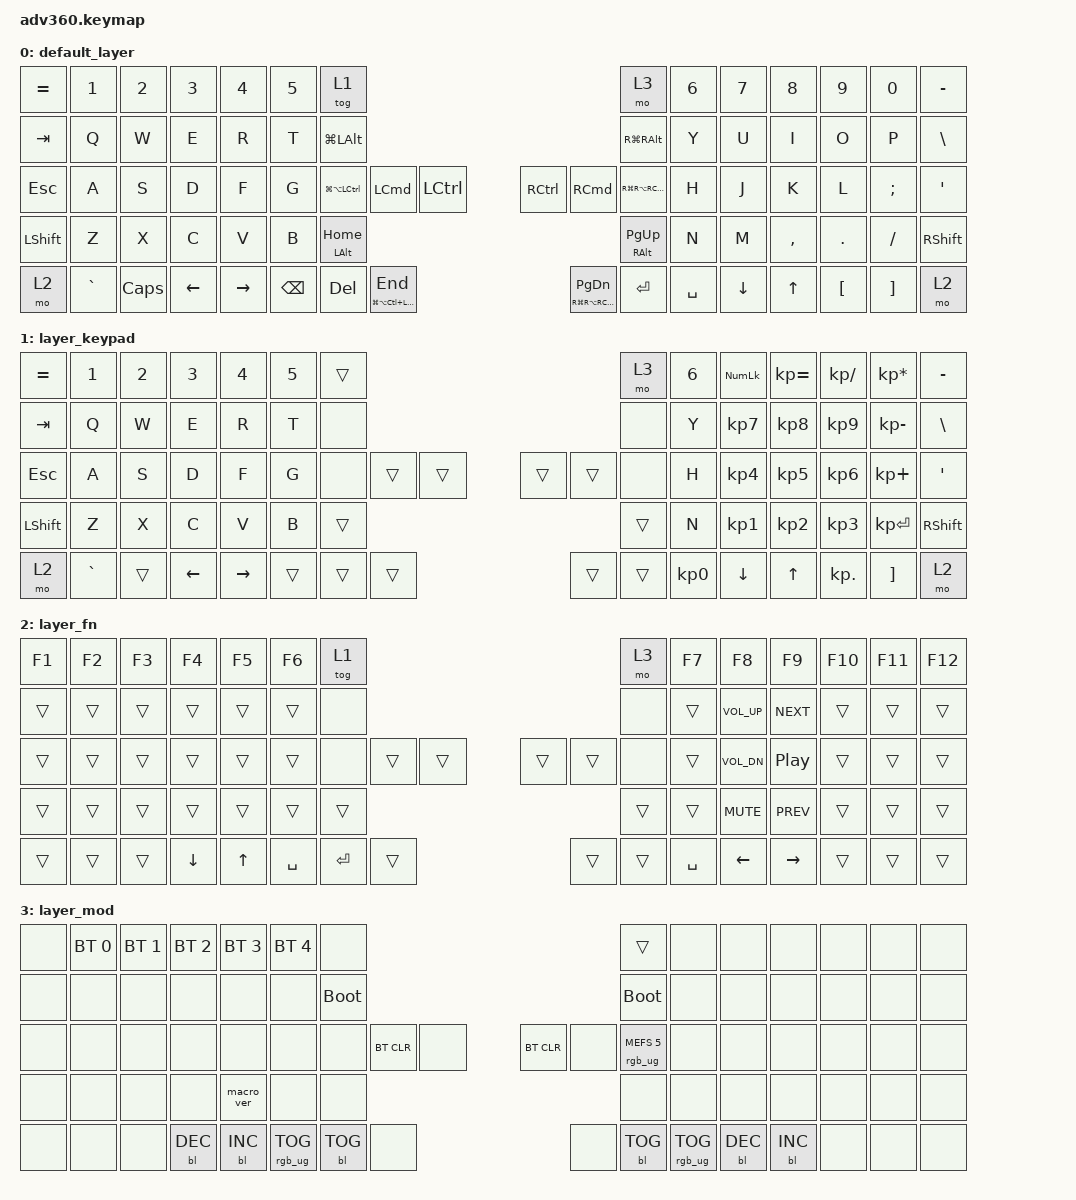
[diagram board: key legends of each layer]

/*
 * Copyright (c) 2020 The ZMK Contributors
 *
 * SPDX-License-Identifier: MIT
 */


/* THIS FILE WAS GENERATED!
 *
 * This file was generated automatically. You may or may not want to
 * edit it directly.
 */

#include <behaviors.dtsi>
#include <dt-bindings/zmk/keys.h>
#include <dt-bindings/zmk/bt.h>
#include <dt-bindings/zmk/rgb.h>
#include <dt-bindings/zmk/backlight.h>

/ {
  behaviors {
    #include "macros.dtsi"
    #include "version.dtsi"

    hm: homerow_mods {
        compatible = "zmk,behavior-hold-tap";
        label = "HOMEROW_MODS";
        #binding-cells = <2>;
        tapping-term-ms = <200>;
        quick_tap_ms = <175>;
        flavor = "tap-preferred";
        bindings = <&kp>, <&kp>;
    };
  };

    keymap {
        compatible = "zmk,keymap";


        default_layer {
            bindings = <
 &kp EQUAL     &kp N1    &kp N2    &kp N3     &kp N4  &kp N5                       &tog 1                                                                                                                                      &mo 3  &kp N6    &kp N7     &kp N8    &kp N9    &kp N0  &kp MINUS
   &kp TAB      &kp Q     &kp W     &kp E      &kp R   &kp T                 &kp LG(LALT)                                                                                                                               &kp RG(RALT)   &kp Y     &kp U      &kp I     &kp O     &kp P   &kp BSLH
   &kp ESC      &kp A     &kp S     &kp D      &kp F   &kp G            &kp LG(LA(LCTRL))  &kp LEFT_COMMAND                       &kp LCTRL                                  &kp RIGHT_CONTROL  &kp RIGHT_COMMAND  &kp RG(RA(RCTRL))   &kp H     &kp J      &kp K     &kp L  &kp SEMI    &kp SQT
 &kp LSHFT      &kp Z     &kp X     &kp C      &kp V   &kp B                                                              &mt LEFT_ALT HOME                                &mt RIGHT_ALT PG_UP                                         &kp N     &kp M  &kp COMMA   &kp DOT  &kp FSLH  &kp RSHFT
     &mo 2  &kp GRAVE  &kp CAPS  &kp LEFT  &kp RIGHT                             &kp BSPC           &kp DEL  &mt LG(LA(LC(LEFT_SHIFT))) END                  &mt RG(RA(RC(RIGHT_SHIFT))) PG_DN          &kp ENTER          &kp SPACE          &kp DOWN     &kp UP  &kp LBKT  &kp RBKT      &mo 2
            >;
        };

        layer_keypad {
            bindings = <
 &kp EQUAL     &kp N1  &kp N2    &kp N3     &kp N4  &kp N5            &trans                                                      &mo 3  &kp N6  &kp KP_NUM  &kp KP_EQUAL  &kp KP_DIVIDE  &kp KP_MULTIPLY  &kp MINUS
   &kp TAB      &kp Q   &kp W     &kp E      &kp R   &kp T             &none                                                      &none   &kp Y   &kp KP_N7     &kp KP_N8      &kp KP_N9     &kp KP_MINUS   &kp BSLH
   &kp ESC      &kp A   &kp S     &kp D      &kp F   &kp G             &none  &trans  &trans                  &trans  &trans      &none   &kp H   &kp KP_N4     &kp KP_N5      &kp KP_N6      &kp KP_PLUS    &kp SQT
 &kp LSHFT      &kp Z   &kp X     &kp C      &kp V   &kp B                            &trans                  &trans                      &kp N   &kp KP_N1     &kp KP_N2      &kp KP_N3     &kp KP_ENTER  &kp RSHFT
     &mo 2  &kp GRAVE  &trans  &kp LEFT  &kp RIGHT                    &trans  &trans  &trans                  &trans  &trans  &kp KP_N0            &kp DOWN        &kp UP     &kp KP_DOT         &kp RBKT      &mo 2
            >;
        };

        layer_fn {
            bindings = <
 &kp F1  &kp F2  &kp F3    &kp F4  &kp F5  &kp F6               &tog 1                                                         &mo 3  &kp F7        &kp F8      &kp F9  &kp F10  &kp F11  &kp F12
 &trans  &trans  &trans    &trans  &trans  &trans                &none                                                         &none  &trans  &kp C_VOL_UP  &kp C_NEXT   &trans   &trans   &trans
 &trans  &trans  &trans    &trans  &trans  &trans                &none     &trans  &trans                  &trans  &trans      &none  &trans  &kp C_VOL_DN    &kp C_PP   &trans   &trans   &trans
 &trans  &trans  &trans    &trans  &trans  &trans                                  &trans                  &trans                     &trans    &kp C_MUTE  &kp C_PREV   &trans   &trans   &trans
 &trans  &trans  &trans  &kp DOWN  &kp UP                    &kp SPACE  &kp ENTER  &trans                  &trans  &trans  &kp SPACE              &kp LEFT   &kp RIGHT   &trans   &trans   &trans
            >;
        };

        layer_mod {
            bindings = <
  &none  &bt BT_SEL 0  &bt BT_SEL 1  &bt BT_SEL 2  &bt BT_SEL 3  &bt BT_SEL 4                      &none                                                                              &trans   &none       &none       &none   &none   &none   &none
  &none         &none         &none         &none         &none         &none                &bootloader                                                                         &bootloader   &none       &none       &none   &none   &none   &none
  &none         &none         &none         &none         &none         &none                      &none  &bt BT_CLR   &none                  &bt BT_CLR       &none  &rgb_ug RGB_MEFS_CMD 5   &none       &none       &none   &none   &none   &none
  &none         &none         &none         &none    &macro_ver         &none                                          &none                       &none                                       &none       &none       &none   &none   &none   &none
  &none         &none         &none    &bl BL_DEC    &bl BL_INC                          &rgb_ug RGB_TOG  &bl BL_TOG   &none                       &none  &bl BL_TOG         &rgb_ug RGB_TOG          &bl BL_DEC  &bl BL_INC   &none   &none   &none
            >;
        };

    };
};
